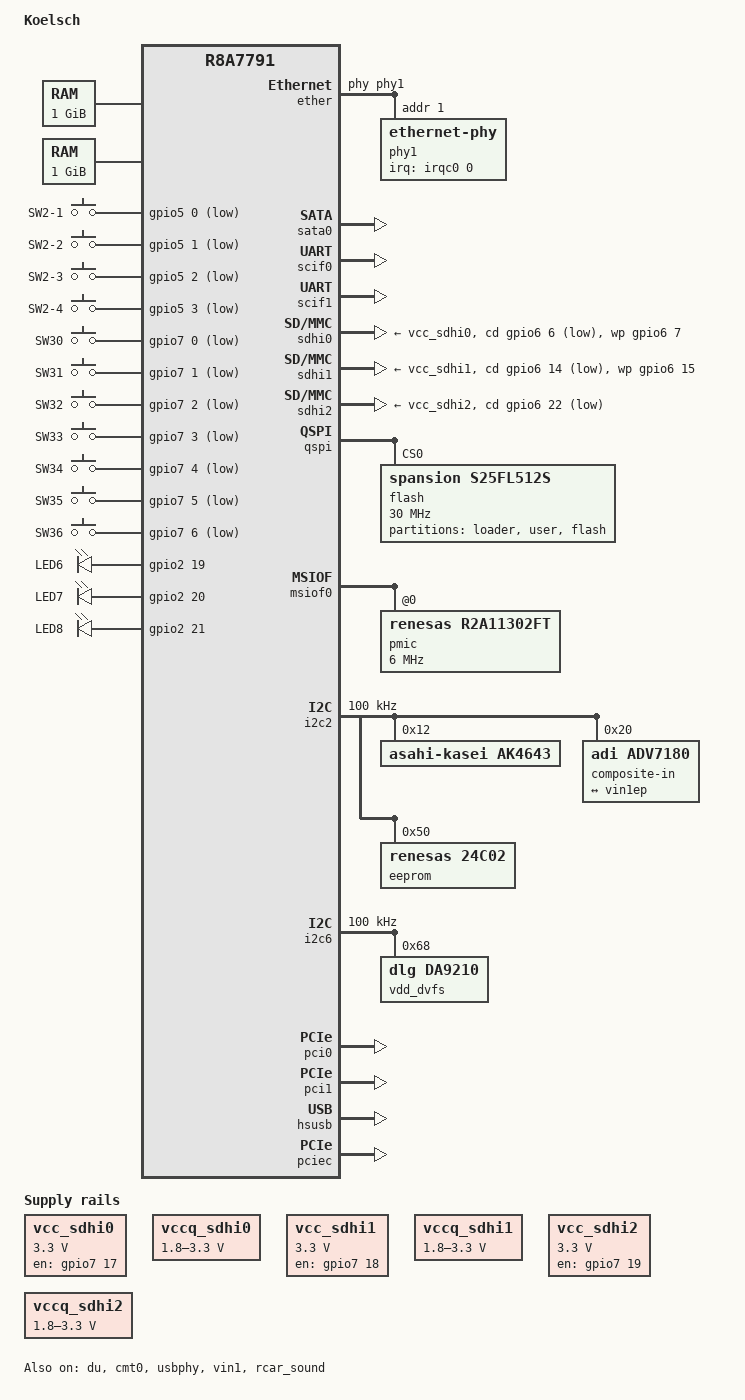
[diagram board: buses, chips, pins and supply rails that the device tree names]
/*
 * Device Tree Source for the Koelsch board
 *
 * Copyright (C) 2013 Renesas Electronics Corporation
 * Copyright (C) 2013-2014 Renesas Solutions Corp.
 * Copyright (C) 2014 Cogent Embedded, Inc.
 *
 * This file is licensed under the terms of the GNU General Public License
 * version 2.  This program is licensed "as is" without any warranty of any
 * kind, whether express or implied.
 */

/*
 * SSI-AK4643
 *
 * SW1: 1: AK4643
 *      2: CN22
 *      3: ADV7511
 *
 * This command is required when Playback/Capture
 *
 *	amixer set "LINEOUT Mixer DACL" on
 *	amixer set "DVC Out" 100%
 *	amixer set "DVC In" 100%
 *
 * You can use Mute
 *
 *	amixer set "DVC Out Mute" on
 *	amixer set "DVC In Mute" on
 *
 * You can use Volume Ramp
 *
 *	amixer set "DVC Out Ramp Up Rate"   "0.125 dB/64 steps"
 *	amixer set "DVC Out Ramp Down Rate" "0.125 dB/512 steps"
 *	amixer set "DVC Out Ramp" on
 *	aplay xxx.wav &
 *	amixer set "DVC Out"  80%  // Volume Down
 *	amixer set "DVC Out" 100%  // Volume Up
 */

/dts-v1/;
#include "r8a7791.dtsi"
#include <dt-bindings/gpio/gpio.h>
#include <dt-bindings/input/input.h>

/ {
	model = "Koelsch";
	compatible = "renesas,koelsch", "renesas,r8a7791";

	aliases {
		serial6 = &scif0;
		serial7 = &scif1;
	};

	chosen {
		bootargs = "ignore_loglevel rw root=/dev/nfs ip=dhcp";
		stdout-path = &scif0;
	};

	memory@40000000 {
		device_type = "memory";
		reg = <0 0x40000000 0 0x40000000>;
	};

	memory@200000000 {
		device_type = "memory";
		reg = <2 0x00000000 0 0x40000000>;
	};

	lbsc {
		#address-cells = <1>;
		#size-cells = <1>;
	};

	keyboard {
		compatible = "gpio-keys";

		key-1 {
			gpios = <&gpio5 0 GPIO_ACTIVE_LOW>;
			linux,code = <KEY_1>;
			label = "SW2-1";
			gpio-key,wakeup;
			debounce-interval = <20>;
		};
		key-2 {
			gpios = <&gpio5 1 GPIO_ACTIVE_LOW>;
			linux,code = <KEY_2>;
			label = "SW2-2";
			gpio-key,wakeup;
			debounce-interval = <20>;
		};
		key-3 {
			gpios = <&gpio5 2 GPIO_ACTIVE_LOW>;
			linux,code = <KEY_3>;
			label = "SW2-3";
			gpio-key,wakeup;
			debounce-interval = <20>;
		};
		key-4 {
			gpios = <&gpio5 3 GPIO_ACTIVE_LOW>;
			linux,code = <KEY_4>;
			label = "SW2-4";
			gpio-key,wakeup;
			debounce-interval = <20>;
		};
		key-a {
			gpios = <&gpio7 0 GPIO_ACTIVE_LOW>;
			linux,code = <KEY_A>;
			label = "SW30";
			gpio-key,wakeup;
			debounce-interval = <20>;
		};
		key-b {
			gpios = <&gpio7 1 GPIO_ACTIVE_LOW>;
			linux,code = <KEY_B>;
			label = "SW31";
			gpio-key,wakeup;
			debounce-interval = <20>;
		};
		key-c {
			gpios = <&gpio7 2 GPIO_ACTIVE_LOW>;
			linux,code = <KEY_C>;
			label = "SW32";
			gpio-key,wakeup;
			debounce-interval = <20>;
		};
		key-d {
			gpios = <&gpio7 3 GPIO_ACTIVE_LOW>;
			linux,code = <KEY_D>;
			label = "SW33";
			gpio-key,wakeup;
			debounce-interval = <20>;
		};
		key-e {
			gpios = <&gpio7 4 GPIO_ACTIVE_LOW>;
			linux,code = <KEY_E>;
			label = "SW34";
			gpio-key,wakeup;
			debounce-interval = <20>;
		};
		key-f {
			gpios = <&gpio7 5 GPIO_ACTIVE_LOW>;
			linux,code = <KEY_F>;
			label = "SW35";
			gpio-key,wakeup;
			debounce-interval = <20>;
		};
		key-g {
			gpios = <&gpio7 6 GPIO_ACTIVE_LOW>;
			linux,code = <KEY_G>;
			label = "SW36";
			gpio-key,wakeup;
			debounce-interval = <20>;
		};
	};

	leds {
		compatible = "gpio-leds";
		led6 {
			gpios = <&gpio2 19 GPIO_ACTIVE_HIGH>;
			label = "LED6";
		};
		led7 {
			gpios = <&gpio2 20 GPIO_ACTIVE_HIGH>;
			label = "LED7";
		};
		led8 {
			gpios = <&gpio2 21 GPIO_ACTIVE_HIGH>;
			label = "LED8";
		};
	};

	vcc_sdhi0: regulator@0 {
		compatible = "regulator-fixed";

		regulator-name = "SDHI0 Vcc";
		regulator-min-microvolt = <3300000>;
		regulator-max-microvolt = <3300000>;

		gpio = <&gpio7 17 GPIO_ACTIVE_HIGH>;
		enable-active-high;
	};

	vccq_sdhi0: regulator@1 {
		compatible = "regulator-gpio";

		regulator-name = "SDHI0 VccQ";
		regulator-min-microvolt = <1800000>;
		regulator-max-microvolt = <3300000>;

		gpios = <&gpio2 12 GPIO_ACTIVE_HIGH>;
		gpios-states = <1>;
		states = <3300000 1
			  1800000 0>;
	};

	vcc_sdhi1: regulator@2 {
		compatible = "regulator-fixed";

		regulator-name = "SDHI1 Vcc";
		regulator-min-microvolt = <3300000>;
		regulator-max-microvolt = <3300000>;

		gpio = <&gpio7 18 GPIO_ACTIVE_HIGH>;
		enable-active-high;
	};

	vccq_sdhi1: regulator@3 {
		compatible = "regulator-gpio";

		regulator-name = "SDHI1 VccQ";
		regulator-min-microvolt = <1800000>;
		regulator-max-microvolt = <3300000>;

		gpios = <&gpio2 13 GPIO_ACTIVE_HIGH>;
		gpios-states = <1>;
		states = <3300000 1
			  1800000 0>;
	};

	vcc_sdhi2: regulator@4 {
		compatible = "regulator-fixed";

		regulator-name = "SDHI2 Vcc";
		regulator-min-microvolt = <3300000>;
		regulator-max-microvolt = <3300000>;

		gpio = <&gpio7 19 GPIO_ACTIVE_HIGH>;
		enable-active-high;
	};

	vccq_sdhi2: regulator@5 {
		compatible = "regulator-gpio";

		regulator-name = "SDHI2 VccQ";
		regulator-min-microvolt = <1800000>;
		regulator-max-microvolt = <3300000>;

		gpios = <&gpio2 26 GPIO_ACTIVE_HIGH>;
		gpios-states = <1>;
		states = <3300000 1
			  1800000 0>;
	};

	sound {
		compatible = "simple-audio-card";

		simple-audio-card,format = "left_j";
		simple-audio-card,bitclock-master = <&sndcodec>;
		simple-audio-card,frame-master = <&sndcodec>;

		sndcpu: simple-audio-card,cpu {
			sound-dai = <&rcar_sound>;
		};

		sndcodec: simple-audio-card,codec {
			sound-dai = <&ak4643>;
			system-clock-frequency = <11289600>;
		};
	};
};

&du {
	pinctrl-0 = <&du_pins>;
	pinctrl-names = "default";
	status = "okay";

	ports {
		port@1 {
			lvds_connector: endpoint {
			};
		};
	};
};

&extal_clk {
	clock-frequency = <20000000>;
};

&pfc {
	i2c2_pins: i2c2 {
		renesas,groups = "i2c2";
		renesas,function = "i2c2";
	};

	du_pins: du {
		renesas,groups = "du_rgb666", "du_sync", "du_clk_out_0";
		renesas,function = "du";
	};

	scif0_pins: serial0 {
		renesas,groups = "scif0_data_d";
		renesas,function = "scif0";
	};

	scif1_pins: serial1 {
		renesas,groups = "scif1_data_d";
		renesas,function = "scif1";
	};

	ether_pins: ether {
		renesas,groups = "eth_link", "eth_mdio", "eth_rmii";
		renesas,function = "eth";
	};

	phy1_pins: phy1 {
		renesas,groups = "intc_irq0";
		renesas,function = "intc";
	};

	sdhi0_pins: sd0 {
		renesas,groups = "sdhi0_data4", "sdhi0_ctrl";
		renesas,function = "sdhi0";
	};

	sdhi1_pins: sd1 {
		renesas,groups = "sdhi1_data4", "sdhi1_ctrl";
		renesas,function = "sdhi1";
	};

	sdhi2_pins: sd2 {
		renesas,groups = "sdhi2_data4", "sdhi2_ctrl";
		renesas,function = "sdhi2";
	};

	qspi_pins: spi0 {
		renesas,groups = "qspi_ctrl", "qspi_data4";
		renesas,function = "qspi";
	};

	msiof0_pins: spi1 {
		renesas,groups = "msiof0_clk", "msiof0_sync", "msiof0_rx",
				 "msiof0_tx";
		renesas,function = "msiof0";
	};

	usb0_pins: usb0 {
		renesas,groups = "usb0";
		renesas,function = "usb0";
	};

	usb1_pins: usb1 {
		renesas,groups = "usb1";
		renesas,function = "usb1";
	};

	vin1_pins: vin1 {
		renesas,groups = "vin1_data8", "vin1_clk";
		renesas,function = "vin1";
	};

	sound_pins: sound {
		renesas,groups = "ssi0129_ctrl", "ssi0_data", "ssi1_data";
		renesas,function = "ssi";
	};

	sound_clk_pins: sound_clk {
		renesas,groups = "audio_clk_a";
		renesas,function = "audio_clk";
	};
};

&ether {
	pinctrl-0 = <&ether_pins &phy1_pins>;
	pinctrl-names = "default";

	phy-handle = <&phy1>;
	renesas,ether-link-active-low;
	status = "ok";

	phy1: ethernet-phy@1 {
		reg = <1>;
		interrupt-parent = <&irqc0>;
		interrupts = <0 IRQ_TYPE_LEVEL_LOW>;
		micrel,led-mode = <1>;
	};
};

&cmt0 {
	status = "ok";
};

&sata0 {
	status = "okay";
};

&scif0 {
	pinctrl-0 = <&scif0_pins>;
	pinctrl-names = "default";

	status = "okay";
};

&scif1 {
	pinctrl-0 = <&scif1_pins>;
	pinctrl-names = "default";

	status = "okay";
};

&sdhi0 {
	pinctrl-0 = <&sdhi0_pins>;
	pinctrl-names = "default";

	vmmc-supply = <&vcc_sdhi0>;
	vqmmc-supply = <&vccq_sdhi0>;
	cd-gpios = <&gpio6 6 GPIO_ACTIVE_LOW>;
	wp-gpios = <&gpio6 7 GPIO_ACTIVE_HIGH>;
	status = "okay";
};

&sdhi1 {
	pinctrl-0 = <&sdhi1_pins>;
	pinctrl-names = "default";

	vmmc-supply = <&vcc_sdhi1>;
	vqmmc-supply = <&vccq_sdhi1>;
	cd-gpios = <&gpio6 14 GPIO_ACTIVE_LOW>;
	wp-gpios = <&gpio6 15 GPIO_ACTIVE_HIGH>;
	status = "okay";
};

&sdhi2 {
	pinctrl-0 = <&sdhi2_pins>;
	pinctrl-names = "default";

	vmmc-supply = <&vcc_sdhi2>;
	vqmmc-supply = <&vccq_sdhi2>;
	cd-gpios = <&gpio6 22 GPIO_ACTIVE_LOW>;
	status = "okay";
};

&qspi {
	pinctrl-0 = <&qspi_pins>;
	pinctrl-names = "default";

	status = "okay";

	flash: flash@0 {
		#address-cells = <1>;
		#size-cells = <1>;
		compatible = "spansion,s25fl512s";
		reg = <0>;
		spi-max-frequency = <30000000>;
		spi-tx-bus-width = <4>;
		spi-rx-bus-width = <4>;
		spi-cpha;
		spi-cpol;
		m25p,fast-read;

		partition@0 {
			label = "loader";
			reg = <0x00000000 0x00080000>;
			read-only;
		};
		partition@80000 {
			label = "user";
			reg = <0x00080000 0x00580000>;
			read-only;
		};
		partition@600000 {
			label = "flash";
			reg = <0x00600000 0x03a00000>;
		};
	};
};

&msiof0 {
	pinctrl-0 = <&msiof0_pins>;
	pinctrl-names = "default";

	status = "okay";

	pmic: pmic@0 {
		compatible = "renesas,r2a11302ft";
		reg = <0>;
		spi-max-frequency = <6000000>;
		spi-cpol;
		spi-cpha;
	};
};

&i2c2 {
	pinctrl-0 = <&i2c2_pins>;
	pinctrl-names = "default";

	status = "okay";
	clock-frequency = <100000>;

	ak4643: sound-codec@12 {
		compatible = "asahi-kasei,ak4643";
		#sound-dai-cells = <0>;
		reg = <0x12>;
	};

	composite-in@20 {
		compatible = "adi,adv7180";
		reg = <0x20>;
		remote = <&vin1>;

		port {
			adv7180: endpoint {
				bus-width = <8>;
				remote-endpoint = <&vin1ep>;
			};
		};
	};

	eeprom@50 {
		compatible = "renesas,24c02";
		reg = <0x50>;
		pagesize = <16>;
	};
};

&i2c6 {
	status = "okay";
	clock-frequency = <100000>;

	vdd_dvfs: regulator@68 {
		compatible = "dlg,da9210";
		reg = <0x68>;

		regulator-min-microvolt = <1000000>;
		regulator-max-microvolt = <1000000>;
		regulator-boot-on;
		regulator-always-on;
	};
};

&pci0 {
	status = "okay";
	pinctrl-0 = <&usb0_pins>;
	pinctrl-names = "default";
};

&pci1 {
	status = "okay";
	pinctrl-0 = <&usb1_pins>;
	pinctrl-names = "default";
};

&hsusb {
	status = "okay";
	pinctrl-0 = <&usb0_pins>;
	pinctrl-names = "default";
	renesas,enable-gpio = <&gpio5 31 GPIO_ACTIVE_HIGH>;
};

&usbphy {
	status = "okay";
};

&pcie_bus_clk {
	status = "okay";
};

&pciec {
	status = "okay";
};

&cpu0 {
	cpu0-supply = <&vdd_dvfs>;
};

/* composite video input */
&vin1 {
	status = "ok";
	pinctrl-0 = <&vin1_pins>;
	pinctrl-names = "default";

	port {
		#address-cells = <1>;
		#size-cells = <0>;

		vin1ep: endpoint {
			remote-endpoint = <&adv7180>;
			bus-width = <8>;
		};
	};
};

&rcar_sound {
	pinctrl-0 = <&sound_pins &sound_clk_pins>;
	pinctrl-names = "default";

	#sound-dai-cells = <0>;

	status = "okay";

	rcar_sound,dai {
		dai0 {
			playback = <&ssi0 &src2 &dvc0>;
			capture  = <&ssi1 &src3 &dvc1>;
		};
	};
};

&ssi1 {
	shared-pin;
};
